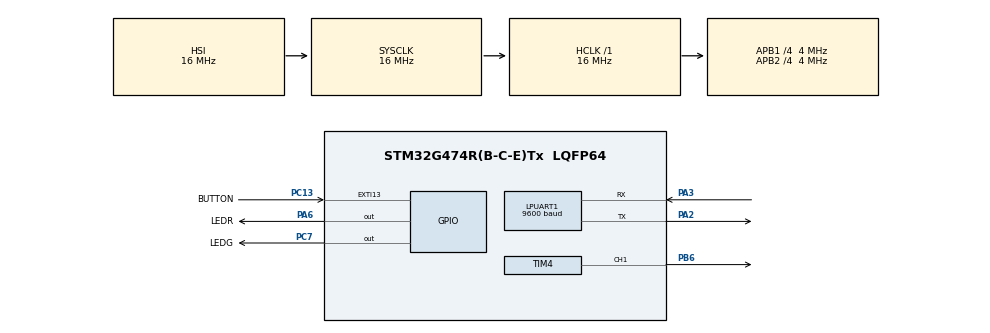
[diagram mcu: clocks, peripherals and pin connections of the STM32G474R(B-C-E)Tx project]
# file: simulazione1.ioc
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LPUART1.BaudRate=9600
Mcu.Family=STM32G4
Mcu.Name=STM32G474R(B-C-E)Tx
Mcu.Package=LQFP64
NVIC.EXTI15_10_IRQn=true\:0\:0\:false\:false\:true\:true\:true\:true
NVIC.LPUART1_IRQn=true\:0\:0\:false\:false\:true\:true\:true\:true
NVIC.PriorityGroup=NVIC_PRIORITYGROUP_4
NVIC.TIM4_IRQn=true\:0\:0\:false\:false\:true\:true\:true\:true
NVIC.TIM6_DAC_IRQn=true\:0\:0\:false\:false\:true\:true\:true\:true
PA2.Mode=Asynchronous
PA2.Signal=LPUART1_TX
PA3.Mode=Asynchronous
PA3.Signal=LPUART1_RX
PA6.GPIO_Label=LEDR
PA6.Signal=GPIO_Output
PB6.Signal=S_TIM4_CH1
PC13.GPIO_Label=BUTTON
PC13.GPIO_ModeDefaultEXTI=GPIO_MODE_IT_RISING
PC13.GPIO_PuPd=GPIO_PULLDOWN
PC13.Signal=GPXTI13
PC7.GPIO_Label=LEDG
PC7.Signal=GPIO_Output
ProjectManager.HeapSize=0x200
ProjectManager.StackSize=0x400
ProjectManager.TargetToolchain=STM32CubeIDE
RCC.AHBFreq_Value=16000000
RCC.APB1CLKDivider=RCC_HCLK_DIV4
RCC.APB1Freq_Value=4000000
RCC.APB1TimFreq_Value=8000000
RCC.APB2CLKDivider=RCC_HCLK_DIV4
RCC.APB2Freq_Value=4000000
RCC.APB2TimFreq_Value=8000000
RCC.CortexFreq_Value=16000000
RCC.EXTERNAL_CLOCK_VALUE=12288000
RCC.HCLKFreq_Value=16000000
RCC.HSE_VALUE=8000000
RCC.HSI48_VALUE=48000000
RCC.HSI_VALUE=16000000
RCC.LSE_VALUE=32768
RCC.SYSCLKFreq_VALUE=16000000
RCC.USBFreq_Value=64000000
RCC.VCOOutputFreq_Value=128000000
SH.S_TIM4_CH1.0=TIM4_CH1,PWM Generation1 CH1
TIM4.Channel-PWM\ Generation1\ CH1=TIM_CHANNEL_1
TIM4.PeriodNoDither=999
TIM4.Prescaler=159
TIM4.PulseNoDither_1=50
TIM6.PeriodNoDither=4999
TIM6.Prescaler=7999
VP_SYS_VS_DBSignals.Mode=DisableDeadBatterySignals
VP_TIM4_VS_ClockSourceINT.Mode=Internal
VP_TIM6_VS_ClockSourceINT.Mode=Enable_Timer
board=custom

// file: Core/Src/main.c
/* USER CODE BEGIN Header */
/**
  ******************************************************************************
  * @file           : main.c
  * @brief          : Main program body
  ******************************************************************************
  * @attention
  *
  * Copyright (c) 2026 STMicroelectronics.
  * All rights reserved.
  *
  * This software is licensed under terms that can be found in the LICENSE file
  * in the root directory of this software component.
  * If no LICENSE file comes with this software, it is provided AS-IS.
  *
  ******************************************************************************
  */
/* USER CODE END Header */
#include "main.h"
#include "usart.h"
#include "tim.h"
#include "gpio.h"

/* USER CODE BEGIN Includes */
#include "fsm_logic.h"

/* USER CODE END Includes */

/* USER CODE BEGIN PD */
#define CLOCK_FREQUENCY (8000000)

/* USER CODE END PD */

/* USER CODE BEGIN PV */
timer_t timer;
timer_t timer_servo;
led_t led_giallo;
led_t led_rosso;
button_t button;

/* USER CODE END PV */

void SystemClock_Config(void);

int main(void)
{

  /* MCU Configuration--------------------------------------------------------*/

  /* Reset of all peripherals, Initializes the Flash interface and the Systick. */
  HAL_Init();

  /* Configure the system clock */
  SystemClock_Config();

  /* Initialize all configured peripherals */
  MX_GPIO_Init();
  MX_LPUART1_UART_Init();
  MX_TIM4_Init();
  MX_TIM6_Init();
  /* USER CODE BEGIN 2 */
  if(led_init(&led_giallo, LEDG_GPIO_Port, LEDG_Pin, GPIO_PIN_RESET)!=LED_OK){
	  return -1;
  }
  if(led_init(&led_rosso, LEDR_GPIO_Port, LEDR_Pin, GPIO_PIN_RESET)!=LED_OK){
  	  return -1;
  }
  if(button_init(&button, BUTTON_GPIO_Port, BUTTON_Pin, GPIO_PIN_RESET)!=BUTTON_OK){
	  return -1;
  }
  if(timer_init(&timer, &htim6, CLOCK_FREQUENCY)!=TIMER_OK){
	  return -1;
  }
  if(timer_init(&timer_servo, &htim4, CLOCK_FREQUENCY)!=TIMER_OK){
  	  return -1;
  }
  if(timer_start_pwm(&timer_servo, TIM_CHANNEL_1)!=TIMER_OK){
	  return -1;
  }

  //inizializzo la fsm
  if(FSM_init(&led_giallo,&led_rosso,&button,&timer,&timer_servo)!=FSM_OK){
	  return -1;
  }

  /* USER CODE END 2 */

  /* Infinite loop */
  /* USER CODE BEGIN WHILE */
  while (1)
  {
	  if(FSM_step()!=FSM_OK){
		  return -1;
	  }

    /* USER CODE END WHILE */

  }
}

void SystemClock_Config(void)
{
  RCC_OscInitTypeDef RCC_OscInitStruct = {0};
  RCC_ClkInitTypeDef RCC_ClkInitStruct = {0};

  /** Configure the main internal regulator output voltage
  */
  HAL_PWREx_ControlVoltageScaling(PWR_REGULATOR_VOLTAGE_SCALE1);

  /** Initializes the RCC Oscillators according to the specified parameters
  * in the RCC_OscInitTypeDef structure.
  */
  RCC_OscInitStruct.OscillatorType = RCC_OSCILLATORTYPE_HSI;
  RCC_OscInitStruct.HSIState = RCC_HSI_ON;
  RCC_OscInitStruct.HSICalibrationValue = RCC_HSICALIBRATION_DEFAULT;
  RCC_OscInitStruct.PLL.PLLState = RCC_PLL_NONE;
  if (HAL_RCC_OscConfig(&RCC_OscInitStruct) != HAL_OK)
  {
    Error_Handler();
  }

  /** Initializes the CPU, AHB and APB buses clocks
  */
  RCC_ClkInitStruct.ClockType = RCC_CLOCKTYPE_HCLK|RCC_CLOCKTYPE_SYSCLK
                              |RCC_CLOCKTYPE_PCLK1|RCC_CLOCKTYPE_PCLK2;
  RCC_ClkInitStruct.SYSCLKSource = RCC_SYSCLKSOURCE_HSI;
  RCC_ClkInitStruct.AHBCLKDivider = RCC_SYSCLK_DIV1;
  RCC_ClkInitStruct.APB1CLKDivider = RCC_HCLK_DIV4;
  RCC_ClkInitStruct.APB2CLKDivider = RCC_HCLK_DIV4;

  if (HAL_RCC_ClockConfig(&RCC_ClkInitStruct, FLASH_LATENCY_0) != HAL_OK)
  {
    Error_Handler();
  }
}

void Error_Handler(void)
{
  __disable_irq();
  while (1)
  {
  }
}
